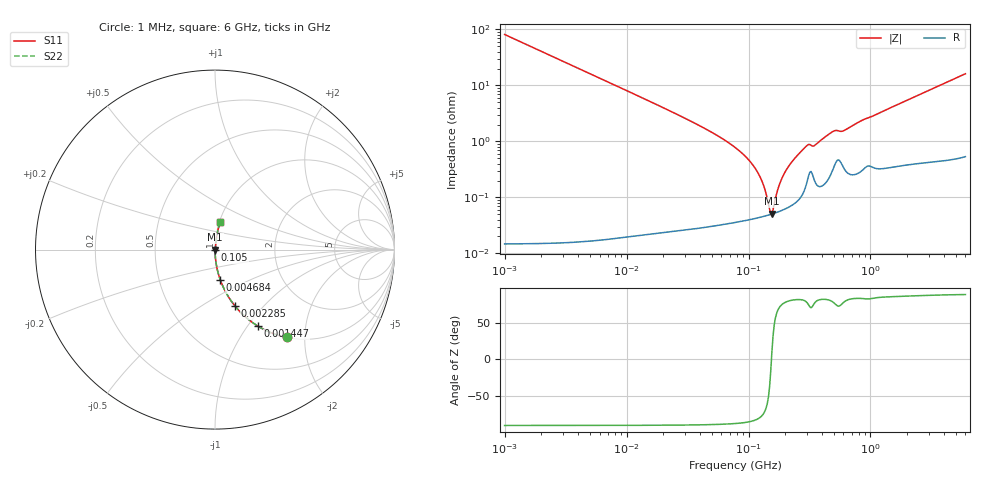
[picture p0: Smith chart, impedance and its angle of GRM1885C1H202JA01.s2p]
!Murata Part Number: GRM1885C1H202JA01
!These Parameters are Measured in Series Mode Connection
!Data Generated on Mar 30, 2021
!  o--ll--o
!Port1  Port2
!  o------o
!Operation Temp=25[degC], DC Bias Voltage=0[V]
!Freq. Start=1000[kHz] Stop=6[GHz] 401[Steps]
# Hz S RI R 50
!Freq.(Hz) S11(Real) S11(Imag) S21(Real) S21(Imag) S12(Real) S12(Imag) S22(Real) S22(Imag)
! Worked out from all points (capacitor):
!   401 points, 1 MHz to 6 GHz, reference 50 ohm
!   read as one part in series: C = 1.95 nF near 1.044 MHz
!   lowest |Z| = 51 mohm at 155.4 MHz (marker M1)
!   series resonance near 154.2 MHz, so ESL is about 550 pH
!   S11 on the Smith chart (normalised r, x): 1 MHz: 1.00, -1.63; 1.447 MHz: 1.00, -1.13; 2.285 MHz: 1.00, -0.71; 4.684 MHz: 1.00, -0.35; 105 MHz: 1.00, -0.01; 6 GHz: 1.01, +0.32
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1000000  0.3987 -0.4895  0.6013 0.4895  0.6013 0.4895  0.3987 -0.4895
1447343  0.2405 -0.4272  0.7595 0.4272  0.7595 0.4272  0.2405 -0.4272
2285201  0.1127 -0.316  0.8873 0.316  0.8873 0.316  0.1127 -0.316
4293785  0.0348 -0.1828  0.9652 0.1828  0.9652 0.1828  0.0348 -0.1828
4684054  0.0294 -0.1685  0.9706 0.1685  0.9706 0.1685  0.0294 -0.1685
1.843659e7  0.00211 -0.0434  0.9979 0.0434  0.9979 0.0434  0.00211 -0.0434
4.596069e7  0.000553 -0.0161  0.9994 0.0161  0.9994 0.0161  0.000553 -0.0161
7.745967e7  0.000417 -0.00782  0.9996 0.00782  0.9996 0.00782  0.000417 -0.00782
1.050294e8  0.000421 -0.00413  0.9996 0.00413  0.9996 0.00413  0.000421 -0.00413
1.277378e8  0.00045 -0.00199  0.9995 0.00199  0.9995 0.00199  0.00045 -0.00199
1.363501e8  0.000465 -0.0013  0.9995 0.0013  0.9995 0.0013  0.000465 -0.0013
1.487431e8  0.000489 -0.000378  0.9995 0.000378  0.9995 0.000378  0.000489 -0.000378
1.553559e8  0.000503 8.09e-05  0.9995 -8.09e-05  0.9995 -8.09e-05  0.000503 8.09e-05
1.587717e8  0.000511 0.000311  0.9995 -0.000311  0.9995 -0.000311  0.000511 0.000311
1.809028e8  0.000569 0.0017  0.9994 -0.0017  0.9994 -0.0017  0.000569 0.0017
2.061188e8  0.000651 0.00314  0.9993 -0.00314  0.9993 -0.00314  0.000651 0.00314
2.919064e8  0.00153 0.00774  0.9985 -0.00774  0.9985 -0.00774  0.00153 0.00774
3.325952e8  0.0027 0.0078  0.9973 -0.0078  0.9973 -0.0078  0.0027 0.0078
4.919634e8  0.00335 0.0146  0.9966 -0.0146  0.9966 -0.0146  0.00335 0.0146
5.983305e8  0.00367 0.0149  0.9963 -0.0149  0.9963 -0.0149  0.00367 0.0149
1.428092e9  0.00487 0.0386  0.9951 -0.0386  0.9951 -0.0386  0.00487 0.0386
6e9  0.0304 0.156  0.9696 -0.156  0.9696 -0.156  0.0304 0.156
